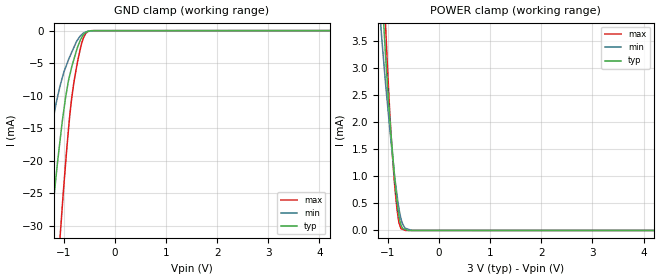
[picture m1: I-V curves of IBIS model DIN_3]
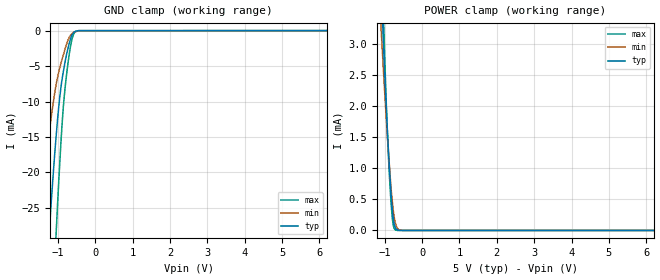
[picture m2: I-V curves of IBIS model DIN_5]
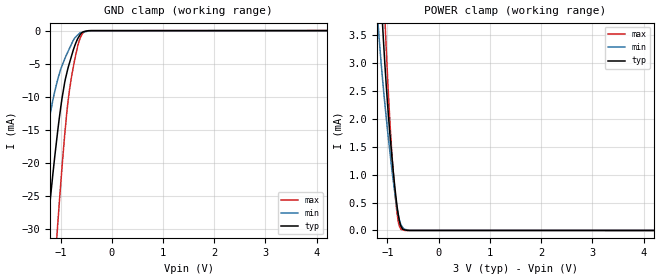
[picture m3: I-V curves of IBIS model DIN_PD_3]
|Texas Instruments Incorporated
|24-bit Analog-to-Digtal Converter, High Resolution, 14 ksps
|ANALOG-TO-DIGITAL CONVERTER
|Marketing part#   Voltage Range   Package-type   #pins   drawing
|ADS1259IPW   2.7V - 5.25V   TSSOP   20-pin   PW
[IBIS Ver]   4.0
[File name]   ads1259.ibs
[File Rev]   1.0
[Date]   11/xx/2009
[Source]   Texas Instruments Incorporated.
   Analog-eLab, HPA
   12500 TI Blvd
   Dallas, TX -75243
   For Support e-mail: elab_ibis@list.ti.com
[Notes]   Revision History:
   1.0: 11/xx/2009
   - Initial Model generated from simulations in Sprectre
   - Model not matched to measurements
[Disclaimer]
 This model is designed as an aid for customers of Texas Instruments.
 TI and its licensors and suppliers make no warranties, either expressed
 or implied, with respect to this  model, including the warranties of
 merchantability or fitness for a particular purpose.
 The model is provided solely on an "as is" basis. The entire risk as to
 its quality and performance is with the customer.
[Copyright] (C) Copyright 2009 Texas Instruments Incorporated.
   All rights reserved.
|   ADS1259
[Component]   ADS1259
[Manufacturer] TI
[Package]   | 20-pin   TSSOP   PW package
| variable   typ   min   max
R_pkg   2.742E-03  1.88E-09   3.96E-03
L_pkg   1.115E-09  8.143E-10  1.83E-09
C_pkg   2.540E-13  2.04E-13   3.65E-13
[Pin] signal_name  model_name  R_pin  L_pin C_pin
1   AINP   TERM   0.00396  1.82741nH  0.36515pF
2   AINN   TERM   0.00314  1.40641nH  0.30736pF
3   _RESET_PWDN   DIN   0.00188  0.81510nH  0.20449pF
4   START   DIO   0.00188  0.81453nH  0.20452pF
5   CLKOUT   DIO   0.00188  0.81433nH  0.20453pF
6   _CS   DIN   0.00188  0.81432nH  0.20454pF
7   SCLK   DIN_PD   0.00188  0.81451nH  0.20454pF
8   DIN   DIN   0.00188  0.81512nH  0.20449pF
9   DOUT   DOU_TRI   0.00311  1.40095nH  0.30812pF
10   _DRDY   DOU   0.00396  1.82692nH  0.36524pF
11   XTAL1/CKLIN   DOSC   0.00396  1.82748nH  0.36514pF
12   XTAL2   DOSC   0.00314  1.40641nH  0.30736pF
13   BYPASS   TERM   0.00188  0.81510nH  0.20449pF
14   DGND   GND   0.00188  0.81450nH  0.20453pF
15   DVDD   POWER   0.00188  0.81430nH  0.20456pF
16   REFOUT   TERM   0.00188  0.81437nH  0.20453pF
17   VREFP   TERM   0.00188  0.81449nH  0.20453pF
18   VREFN   TERM   0.00188  0.81506nH  0.20450pF
19   AVSS   GND   0.00311  1.40095nH  0.30811pF
20   AVDD   POWER   0.00396  1.82695nH  0.36522pF
[Model Selector]  DIN
DIN_3   2.70V - 3.30V   INPUT model
DIN_5   2.70V - 3.30V   INPUT model
[Model Selector]  DIN_PD
DIN_PD_3   2.70V - 3.30V   DINPUT model
DIN_PD_5   2.70V - 3.30V   DINPUT model
[Model Selector]  DOSC
DOSC_3   2.70V - 3.30V   OSCINPUT model
DOSC_5   2.70V - 3.30V   OSCINPUT model
[Model Selector]  DIO
DIO_3   2.70V - 3.30V   INPUT_OUTPUT model
DIO_5   2.70V - 3.30V   INPUT_OUTPUT model
[Model Selector]  DOU_TRI
DOU_TRI_3   2.70V - 3.30V   TRI_OUTPUT model
DOU_TRI_5   2.70V - 3.30V   TRI_OUTPUT model
[Model Selector]  DOU
DOU_3   2.70V - 3.30V   OUTPUT model
DOU_5   2.70V - 3.30V   OUTPUT model
|   TERM Model
[Model] TERM
Model_type Terminator
C_comp   0   0   0
| variable   typ   min   max
[Voltage Range]   3.3V   2.0V   5.5V
[POWER Clamp Reference]  3.3V   2.0V   5.5V
[GND Clamp Reference]   0.0V   0.0V   0.0V
|Operating Temperature
[Temperature Range]   27   105   -40
| Models and submodels in the file (13): TERM (Terminator), DIN_3 (Input), DIN_5 (Input), DIN_PD_3 (Input), DIN_PD_5 (Input), DOSC_3 (Input), DOSC_5 (Input), DIO_3 (I/O), DIO_5 (I/O), DOU_TRI_3 (I/O), DOU_TRI_5 (I/O), DOU_3 (Output), DOU_5 (Output)
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|   Input DIN model 3V
[Model]   DIN_3
Model_type   Input
|Signals   _CS, DIN
Vinl = 600.000mV
Vinh = 2.4V
| variable   typ   min   max
C_comp   3.8315990pF   4.6371010pF   3.1190910pF
[Voltage Range]   3.000V   2.700V   3.300V
[power clamp reference]   3.0V   2.7V   3.3V
[Temperature Range]   27.0   105.0   -40.0
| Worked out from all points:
|   GND clamp passes 1 mA (typ) near -0.64 V on its own axis
|   POWER clamp passes 1 mA (typ) near -0.87 V on its own axis
[GND Clamp]
|   Voltage   I(typ)   I(min)   I(max)
-3V       -211.9mA   -136.8mA   -278.1mA
-1.564V   -58.7mA    -31.6mA    -92.04mA
-1.262V   -31.32mA   -15.89mA   -54.04mA
-1.073V   -16.89mA   -8.498mA   -31.78mA
-1.037V   -14.49mA   -7.503mA   -27.96mA
-966.3mV  -10.38mA   -5.719mA   -20.64mA
-890.9mV  -7.129mA   -4.166mA   -13.74mA
-845.4mV  -5.637mA   -3.36mA    -10.42mA
-730.4mV  -2.564mA   -1.431mA   -4.771mA
-608.7mV  -535.9uA   -353uA     -1.017mA
-445.7mV  -16.97uA   -43.02uA   -11.63uA
5.991V    0A         0A         0A
[POWER Clamp]
|   Voltage   I(typ)   I(min)   I(max)
-3V       42.87mA    34.75mA    52.36mA
-1.169V   5.332mA    4.155mA    6.543mA
-1.127V   4.587mA    3.636mA    5.571mA
-1.067V   3.563mA    2.945mA    4.221mA
-1.048V   3.264mA    2.741mA    3.834mA
-1.041V   3.158mA    2.665mA    3.684mA
-962.9mV  2.07mA     1.872mA    2.161mA
-882.6mV  1.126mA    1.13mA     1.005mA
-819.1mV  518uA      632.9uA    371.6uA
-745.9mV  106.9uA    221.4uA    34.85uA
-531.7mV  749.3nA    1.024uA    653.8nA
5.991V    0A         0A         0A
|   Input DIN Model 5 V
[Model]   DIN_5
Model_type   Input
|Signals   _CS, DIN
Vinl = 1.00V
Vinh = 4.000V
| variable   typ   min   max
C_comp   3.5914760pF   4.3283320pF   2.9216590pF
[Voltage Range]   5.000V   4.750V   5.250V
[power clamp reference]   5.0V   4.75V   5.25V
[Temperature Range]   27.0   105.0   -40.0
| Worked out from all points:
|   GND clamp passes 1 mA (typ) near -0.65 V on its own axis
|   POWER clamp passes 1 mA (typ) near -0.87 V on its own axis
[GND Clamp]
|   Voltage   I(typ)   I(min)   I(max)
-5V       -433.9mA   -308mA     -535.5mA
-1.528V   -55.22mA   -29.48mA   -87.38mA
-1.259V   -31.01mA   -15.81mA   -53.72mA
-1.215V   -27.41mA   -13.86mA   -48.26mA
-1.042V   -14.78mA   -7.564mA   -28.4mA
-918.5mV  -8.172mA   -4.694mA   -16.1mA
-825.6mV  -5.032mA   -2.987mA   -9.231mA
-746.5mV  -2.967mA   -1.637mA   -5.438mA
-659.5mV  -1.224mA   -667.2uA   -2.244mA
-610.1mV  -567.8uA   -404.4uA   -1.03mA
-527.5mV  -96.46uA   -149.5uA   -149.7uA
9.985V    0A         0A         0A
[POWER Clamp]
|   Voltage   I(typ)   I(min)   I(max)
-5V       85.03mA    69.73mA    103.4mA
-1.098V   4.076mA    3.29mA     4.907mA
-1.046V   3.234mA    2.725mA    3.784mA
-1.022V   2.872mA    2.466mA    3.29mA
-944.9mV  1.84mA     1.696mA    1.862mA
-892.5mV  1.225mA    1.22mA     1.125mA
-852.6mV  816.4uA    873.3uA    676.6uA
-790.3mV  311.8uA    441.9uA    178.8uA
-761.2mV  157.8uA    289.5uA    66.12uA
-711.1mV  42.38uA    118.3uA    7.533uA
-520.8mV  486.5nA    710.4nA    746nA
9.985V    0A         0A         0A
|   Input DIN_PD model 3V
[Model]   DIN_PD_3
Model_type   Input
|Signals   SCLK
Vinl = 600.000mV
Vinh = 2.4V
| variable   typ   min   max
C_comp   7.7283140pF   9.2929530pF   6.3623160pF
[Voltage Range]   3.000V   2.700V   3.300V
[power clamp reference]   3.0V   2.7V   3.3V
[Temperature Range]   27.0   105.0   -40.0
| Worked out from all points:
|   GND clamp passes 1 mA (typ) near -0.65 V on its own axis
|   POWER clamp passes 1 mA (typ) near -0.88 V on its own axis
[GND Clamp]
|   Voltage   I(typ)   I(min)   I(max)
-3V       -209.3mA   -134.4mA   -275mA
-1.559V   -57.06mA   -30.08mA   -90.15mA
-1.373V   -39.95mA   -20.21mA   -66.83mA
-1.256V   -30.06mA   -14.81mA   -52.52mA
-1.148V   -21.55mA   -10.45mA   -39.7mA
-1.062V   -15.65mA   -7.588mA   -30.11mA
-920.7mV  -7.935mA   -4.341mA   -15.95mA
-849.6mV  -5.54mA    -3.104mA   -10.43mA
-721.4mV  -2.283mA   -1.109mA   -4.299mA
-616.7mV  -601.5uA   -320.1uA   -1.137mA
-443.3mV  -14.21uA   -55.86uA   -10.49uA
5.991V    0A         0A         0A
[POWER Clamp]
|   Voltage   I(typ)   I(min)   I(max)
-3V       42.57mA    34.32mA    52.02mA
-1.184V   5.248mA    3.728mA    6.818mA
-1.157V   4.748mA    3.39mA     6.172mA
-1.09V    3.608mA    2.66mA     4.677mA
-1.039V   2.841mA    2.175mA    3.6mA
-944.9mV  1.664mA    1.356mA    1.854mA
-877.9mV  985.6uA    835.3uA    951.8uA
-814.1mV  455uA      413.1uA    329.5uA
-778.9mV  237.3uA    241.5uA    120.2uA
-736.5mV  77.81uA    103.9uA    21.12uA
-574.3mV  880.8nA    1.155uA    552.3nA
5.991V    0A         0A         0A
